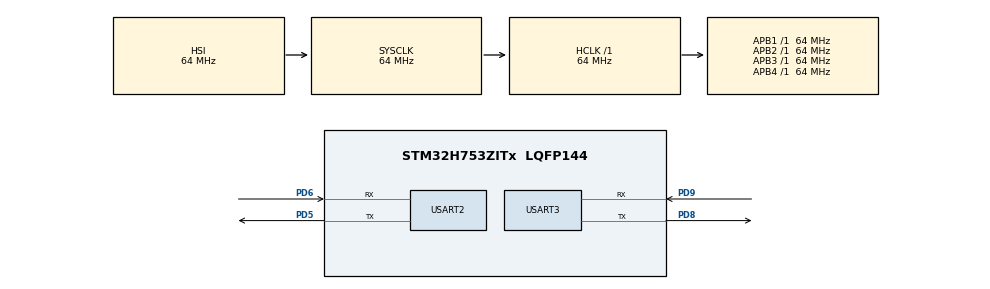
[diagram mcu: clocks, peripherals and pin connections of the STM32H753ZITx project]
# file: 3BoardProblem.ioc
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CORTEX_M7.CPU_DCache=Disabled
CORTEX_M7.CPU_ICache=Disabled
CORTEX_M7.MPU_Control=__NULL
CORTEX_M7.default_mode_Activation=1
Mcu.Family=STM32H7
Mcu.Name=STM32H753ZITx
Mcu.Package=LQFP144
NUCLEO-H753ZI.BUTTON=1
NUCLEO-H753ZI.LD1=true
NUCLEO-H753ZI.LD2=true
NUCLEO-H753ZI.LD3=true
NUCLEO-H753ZI.VCP=false
NVIC.EXTI15_10_IRQn=true\:0\:0\:false\:false\:true\:false\:true\:true
NVIC.PriorityGroup=NVIC_PRIORITYGROUP_4
NVIC.USART2_IRQn=true\:0\:0\:false\:false\:true\:true\:true\:true
NVIC.USART3_IRQn=true\:0\:0\:false\:false\:true\:true\:true\:true
PC14-OSC32_IN\ (OSC32_IN).Signal=RCC_OSC32_IN
PC15-OSC32_OUT\ (OSC32_OUT).Signal=RCC_OSC32_OUT
PD5.Mode=Asynchronous
PD5.Signal=USART2_TX
PD6.Mode=Asynchronous
PD6.Signal=USART2_RX
PD8.Mode=Asynchronous
PD8.Signal=USART3_TX
PD9.Mode=Asynchronous
PD9.Signal=USART3_RX
PH0-OSC_IN\ (PH0).Signal=RCC_OSC_IN
PH1-OSC_OUT\ (PH1).Signal=RCC_OSC_OUT
ProjectManager.HeapSize=0x200
ProjectManager.StackSize=0x400
ProjectManager.TargetToolchain=CMake
RCC.ADCFreq_Value=129000000
RCC.APB1Freq_Value=64000000
RCC.APB2Freq_Value=64000000
RCC.APB3Freq_Value=64000000
RCC.APB4Freq_Value=64000000
RCC.CortexFreq_Value=64000000
RCC.DIVM1=1
RCC.DIVN1=24
RCC.DIVQ1=4
RCC.HCLKFreq_Value=64000000
RCC.HSE_VALUE=8000000
RCC.PLLFRACN=0
RCC.PWR_Regulator_Voltage_Scale=PWR_REGULATOR_VOLTAGE_SCALE2
RCC.SYSCLKFreq_VALUE=64000000
RCC.USBFreq_Value=384000000
USART2.VirtualMode-Asynchronous=VM_ASYNC
USART3.VirtualMode-Asynchronous=VM_ASYNC
VP_MEMORYMAP_VS_MEMORYMAP.Mode=CurAppReg
VP_NUCLEO-H753ZI_VS_BSP_COMMON.Mode=COMMON
board=NUCLEO-H753ZI

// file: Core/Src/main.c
/* USER CODE BEGIN Header */
/**
 ******************************************************************************
 * @file           : main.c
 * @brief          : Main program body
 ******************************************************************************
 * @attention
 *
 * Copyright (c) 2026 STMicroelectronics.
 * All rights reserved.
 *
 * This software is licensed under terms that can be found in the LICENSE file
 * in the root directory of this software component.
 * If no LICENSE file comes with this software, it is provided AS-IS.
 *
 ******************************************************************************
 */
/* USER CODE END Header */
#include "main.h"
#include "usart.h"
#include "gpio.h"

/* USER CODE BEGIN Includes */

#include <stdbool.h>

/* USER CODE END Includes */

/* USER CODE BEGIN PTD */

typedef struct
{
  uint8_t buffer[1024];
  volatile uint16_t head;
  volatile uint16_t tail;
} byte_queue_t;

typedef enum
{
  RX_SYNC_1,
  RX_SYNC_2,
  RX_SEQUENCE,
  RX_DATA,
  RX_CRC_0,
  RX_CRC_1,
  RX_CRC_2,
  RX_CRC_3
} rx_frame_state_t;

/* USER CODE END PTD */

/* USER CODE BEGIN PD */

#define QUEUE_SIZE (sizeof(((byte_queue_t *)0)->buffer))

#define WIRE_REPETITIONS 301U /* majoraty vote */
#define WIRE_PAUSE_US    50U
#define FRAME_COPIES     3U
#define FRAME_SYNC_1     0x55U
#define FRAME_SYNC_2     0xAAU
#define FRAME_RESET_DATA 0xC3U
#define FRAME_RESET_XOR  0xA5F03C69UL
#define WIRE_MASK_COUNT  8U

#if ((WIRE_REPETITIONS % 2U) == 0U)
#error "WIRE_REPETITIONS must be odd"
#endif

#define RX_STATUS_CORRECTED 0x01U
#define RX_STATUS_LOST      0x02U

/* USER CODE END PD */

/* USER CODE BEGIN PV */

uint8_t rx3; /* 1 byte laptop (USART3) */
uint8_t rx2; /* 1 byte cable  (USART2) */

static byte_queue_t wire_tx_queue; /* laptop -> encoded cable */
static byte_queue_t pc_tx_queue;   /* decoded cable -> laptop */
static byte_queue_t pc_status_queue;

static const uint8_t wire_masks[WIRE_MASK_COUNT] = {
    0x00U, 0xA7U, 0x3CU, 0xD2U, 0x69U, 0xF0U, 0x5BU, 0x96U};
static uint16_t repetition_bit_counts[8];
static uint16_t repetition_count;
static bool wire_cycle_counter_ready;

static rx_frame_state_t rx_frame_state = RX_SYNC_1;
static uint8_t rx_frame_bytes[6];
static bool rx_copy_corrected;
static bool rx_pending_error;
static uint8_t tx_sequence;
static uint8_t rx_expected_sequence;
static bool tx_message_start = true;

/* USER CODE END PV */

void SystemClock_Config(void);
/* USER CODE BEGIN PFP */

static void queue_push(byte_queue_t *queue, uint8_t data);
static bool queue_pop(byte_queue_t *queue, uint8_t *data);
static void link_send_data(uint8_t data);
static void link_receive_byte(uint8_t byte);
static void message_receive_byte(uint8_t data, uint8_t status);

/* USER CODE END PFP */

/* USER CODE BEGIN 0 */

static void queue_push(byte_queue_t *queue, uint8_t data)
{
  uint16_t next = (uint16_t)((queue->head + 1U) % QUEUE_SIZE);

  if (next != queue->tail)
  {
    queue->buffer[queue->head] = data;
    queue->head = next;
  }
}

static bool queue_pop(byte_queue_t *queue, uint8_t *data)
{
  if (queue->tail == queue->head)
  {
    return false;
  }

  *data = queue->buffer[queue->tail];
  queue->tail = (uint16_t)((queue->tail + 1U) % QUEUE_SIZE);
  return true;
}

static uint32_t crc32(uint8_t sequence, uint8_t data)
{
  uint32_t crc = 0xFFFFFFFFUL;
  uint8_t values[2] = {sequence, data};

  for (uint8_t index = 0U; index < 2U; index++)
  {
    crc ^= (uint32_t)values[index];
    for (uint8_t bit = 0U; bit < 8U; bit++)
    {
      crc = (crc & 1UL) != 0UL
                ? (crc >> 1U) ^ 0xEDB88320UL
                : crc >> 1U;
    }
  }

  return ~crc;
}

static uint8_t rotate_left8(uint8_t value, uint8_t shift)
{
  shift &= 7U;
  if (shift == 0U)
  {
    return value;
  }

  return (uint8_t)((value << shift) | (value >> (8U - shift)));
}

static uint8_t rotate_right8(uint8_t value, uint8_t shift)
{
  shift &= 7U;
  if (shift == 0U)
  {
    return value;
  }

  return (uint8_t)((value >> shift) | (value << (8U - shift)));
}

static uint8_t encode_wire_sample(uint8_t byte, uint16_t sample_index)
{
  uint8_t phase = (uint8_t)(sample_index % WIRE_MASK_COUNT);
  return rotate_left8(byte, phase) ^ wire_masks[phase];
}

static uint8_t decode_wire_sample(uint8_t byte, uint16_t sample_index)
{
  uint8_t phase = (uint8_t)(sample_index % WIRE_MASK_COUNT);
  return rotate_right8(byte ^ wire_masks[phase], phase);
}

static void wire_delay_us(uint32_t microseconds)
{
  if (!wire_cycle_counter_ready)
  {
    volatile uint32_t fallback_loops =
        (SystemCoreClock / 4000000U) * microseconds;
    while (fallback_loops-- > 0U)
    {
      __NOP();
    }
    return;
  }

  uint32_t start = DWT->CYCCNT;
  uint32_t cycles = (SystemCoreClock / 1000000U) * microseconds;

  while ((uint32_t)(DWT->CYCCNT - start) < cycles)
  {
  }
}

static void send_repeated_byte(uint8_t byte)
{
  for (uint16_t index = 0U; index < WIRE_REPETITIONS; index++)
  {
    uint8_t wire_byte = encode_wire_sample(byte, index);
    HAL_UART_Transmit(&huart2, &wire_byte, 1U, HAL_MAX_DELAY);
    wire_delay_us(WIRE_PAUSE_US);
  }
}

static void link_send_frame(uint8_t sequence, uint8_t data, uint32_t checksum)
{
  uint8_t frame[8] = {
      FRAME_SYNC_1,
      FRAME_SYNC_2,
      sequence,
      data,
      (uint8_t)(checksum >> 24U),
      (uint8_t)(checksum >> 16U),
      (uint8_t)(checksum >> 8U),
      (uint8_t)checksum,
  };

  for (uint8_t copy = 0U; copy < FRAME_COPIES; copy++)
  {
    for (uint8_t index = 0U; index < sizeof(frame); index++)
    {
      send_repeated_byte(frame[index]);
    }
  }
}

static void link_send_data(uint8_t data)
{
  /* sync reciever */
  if (tx_message_start)
  {
    uint32_t reset_checksum = crc32(tx_sequence, FRAME_RESET_DATA) ^
                              FRAME_RESET_XOR;
    link_send_frame(tx_sequence, FRAME_RESET_DATA, reset_checksum);
    tx_message_start = false;
  }

  uint8_t sequence = tx_sequence++;
  link_send_frame(sequence, data, crc32(sequence, data));

  if ((data == '\r') || (data == '\n'))
  {
    tx_message_start = true;
  }
}

static void receive_valid_frame(uint8_t sequence, uint8_t data,
                                bool corrected)
{
  uint8_t distance = (uint8_t)(sequence - rx_expected_sequence);

  /* A positive forward distance means one or more complete characters were lost */
  if ((distance > 0U) && (distance < 128U))
  {
    while (rx_expected_sequence != sequence)
    {
      queue_push(&pc_tx_queue, (uint8_t)'?');
      queue_push(&pc_status_queue, RX_STATUS_LOST);
      rx_expected_sequence++;
    }
  }
  else if (distance >= 128U)
  {
    if (sequence == (uint8_t)(rx_expected_sequence - 1U))
    {
      return;
    }

    rx_expected_sequence = sequence;
    rx_pending_error = true;
  }

  queue_push(&pc_tx_queue, data);
  queue_push(&pc_status_queue,
             (corrected || rx_pending_error) ? RX_STATUS_CORRECTED : 0U);
  rx_expected_sequence++;
  rx_pending_error = false;

  if (corrected)
  {
    BSP_LED_Toggle(LED_YELLOW);
  }
}

static bool frame_checksum_matches(uint32_t checksum, bool *corrected)
{
  for (uint8_t index = 0U; index < 4U; index++)
  {
    uint8_t expected = (uint8_t)(checksum >> (24U - (8U * index)));
    uint8_t received = rx_frame_bytes[index + 2U];

    if (received == expected)
    {
      continue;
    }
    if (received == (uint8_t)~expected)
    {
      *corrected = true;
      continue;
    }

    return false;
  }

  return true;
}

static void process_complete_frame(void)
{
  /* try both polarities to fix inversion */
  for (uint8_t sequence_inverted = 0U; sequence_inverted <= 1U;
       sequence_inverted++)
  {
    for (uint8_t data_inverted = 0U; data_inverted <= 1U; data_inverted++)
    {
      uint8_t sequence = rx_frame_bytes[0] ^
                         (sequence_inverted != 0U ? 0xFFU : 0x00U);
      uint8_t data = rx_frame_bytes[1] ^
                     (data_inverted != 0U ? 0xFFU : 0x00U);
      uint32_t checksum = crc32(sequence, data);
      bool polarity_corrected = (sequence_inverted != 0U) ||
                                (data_inverted != 0U);

      if (data == FRAME_RESET_DATA)
      {
        bool reset_corrected = polarity_corrected;
        if (frame_checksum_matches(checksum ^ FRAME_RESET_XOR,
                                   &reset_corrected))
        {
          rx_expected_sequence = sequence;
          rx_pending_error = false;
          if (rx_copy_corrected || reset_corrected)
          {
            BSP_LED_Toggle(LED_YELLOW);
          }
          return;
        }
      }

      if (frame_checksum_matches(checksum, &polarity_corrected))
      {
        receive_valid_frame(sequence, data,
                            rx_copy_corrected || polarity_corrected);
        return;
      }
    }
  }

  rx_pending_error = true;
  BSP_LED_Toggle(LED_RED);
}

static void process_majority_byte(uint8_t byte, bool corrected)
{
  switch (rx_frame_state)
  {
  case RX_SYNC_1:
    if ((byte == FRAME_SYNC_1) || (byte == FRAME_SYNC_2))
    {
      rx_copy_corrected = corrected || (byte != FRAME_SYNC_1);
      rx_frame_state = RX_SYNC_2;
    }
    break;

  case RX_SYNC_2:
    if ((byte == FRAME_SYNC_2) || (byte == FRAME_SYNC_1))
    {
      rx_copy_corrected |= corrected || (byte != FRAME_SYNC_2);
      rx_frame_state = RX_SEQUENCE;
    }
    else
    {
      rx_frame_state = RX_SYNC_1;
    }
    break;

  case RX_SEQUENCE:
    rx_frame_bytes[0] = byte;
    rx_copy_corrected |= corrected;
    rx_frame_state = RX_DATA;
    break;

  case RX_DATA:
    rx_frame_bytes[1] = byte;
    rx_copy_corrected |= corrected;
    rx_frame_state = RX_CRC_0;
    break;

  case RX_CRC_0:
    rx_frame_bytes[2] = byte;
    rx_copy_corrected |= corrected;
    rx_frame_state = RX_CRC_1;
    break;

  case RX_CRC_1:
    rx_frame_bytes[3] = byte;
    rx_copy_corrected |= corrected;
    rx_frame_state = RX_CRC_2;
    break;

  case RX_CRC_2:
    rx_frame_bytes[4] = byte;
    rx_copy_corrected |= corrected;
    rx_frame_state = RX_CRC_3;
    break;

  case RX_CRC_3:
    rx_frame_bytes[5] = byte;
    rx_copy_corrected |= corrected;
    process_complete_frame();
    rx_frame_state = RX_SYNC_1;
    break;
  }
}

static void link_receive_byte(uint8_t byte)
{
  byte = decode_wire_sample(byte, repetition_count);

  for (uint8_t bit = 0U; bit < 8U; bit++)
  {
    repetition_bit_counts[bit] += (uint16_t)((byte >> bit) & 1U);
  }

  repetition_count++;
  if (repetition_count < WIRE_REPETITIONS)
  {
    return;
  }

  uint8_t majority_byte = 0U;
  bool corrected = false;
  for (uint8_t bit = 0U; bit < 8U; bit++)
  {
    if (repetition_bit_counts[bit] > (WIRE_REPETITIONS / 2U))
    {
      majority_byte |= (uint8_t)(1U << bit);
    }
    if ((repetition_bit_counts[bit] != 0U) &&
        (repetition_bit_counts[bit] != WIRE_REPETITIONS))
    {
      corrected = true;
    }
    repetition_bit_counts[bit] = 0U;
  }

  repetition_count = 0U;
  process_majority_byte(majority_byte, corrected);
}

static void message_receive_byte(uint8_t data, uint8_t status)
{
  (void)status;
  HAL_UART_Transmit(&huart3, &data, 1U, HAL_MAX_DELAY);
}

/* USER CODE END 0 */

int main(void)
{

  /* MCU Configuration--------------------------------------------------------*/

  /* Reset of all peripherals, Initializes the Flash interface and the Systick. */
  HAL_Init();

  /* Configure the system clock */
  SystemClock_Config();

  /* Initialize all configured peripherals */
  MX_GPIO_Init();
  MX_USART2_UART_Init();
  MX_USART3_UART_Init();

  /* Cycle counter for the short pacing delay between cable bytes. */
  CoreDebug->DEMCR |= CoreDebug_DEMCR_TRCENA_Msk;
  DWT->LAR = 0xC5ACCE55UL;
  DWT->CYCCNT = 0U;
  DWT->CTRL |= DWT_CTRL_CYCCNTENA_Msk;
  uint32_t cycle_counter_start = DWT->CYCCNT;
  for (volatile uint32_t index = 0U; index < 100U; index++)
  {
    __NOP();
  }
  wire_cycle_counter_ready = DWT->CYCCNT != cycle_counter_start;

  /* Green: ready. Yellow: majority vote used. Red: CRC rejected a copy. */
  BSP_LED_Init(LED_GREEN);
  BSP_LED_Init(LED_YELLOW);
  BSP_LED_Init(LED_RED);
  BSP_LED_On(LED_GREEN);

  uint8_t hello[] = "Robust link ready. Characters are printed immediately.\r\n";
  HAL_UART_Transmit(&huart3, hello, sizeof(hello) - 1U, HAL_MAX_DELAY);

  HAL_UART_Receive_IT(&huart3, &rx3, 1U);
  HAL_UART_Receive_IT(&huart2, &rx2, 1U);

  /* Infinite loop */
  /* USER CODE BEGIN WHILE */
  while (1)
  {
    uint8_t data;

    /* Laptop -> cable: strongly encode one queued character. */
    if (queue_pop(&wire_tx_queue, &data))
    {
      link_send_data(data);
    }

    /* Cable -> laptop: collect characters and print the complete message. */
    if (queue_pop(&pc_tx_queue, &data))
    {
      uint8_t status = 0U;
      (void)queue_pop(&pc_status_queue, &status);
      message_receive_byte(data, status);
    }

    /* USER CODE END WHILE */

    /* USER CODE BEGIN 3 */
  }
}

void SystemClock_Config(void)
{
  RCC_OscInitTypeDef RCC_OscInitStruct = {0};
  RCC_ClkInitTypeDef RCC_ClkInitStruct = {0};

  /** Supply configuration update enable
   */
  HAL_PWREx_ConfigSupply(PWR_LDO_SUPPLY);

  /** Configure the main internal regulator output voltage
   */
  __HAL_PWR_VOLTAGESCALING_CONFIG(PWR_REGULATOR_VOLTAGE_SCALE2);

  while (!__HAL_PWR_GET_FLAG(PWR_FLAG_VOSRDY))
  {
  }

  /** Initializes the RCC Oscillators according to the specified parameters
   * in the RCC_OscInitTypeDef structure.
   */
  RCC_OscInitStruct.OscillatorType = RCC_OSCILLATORTYPE_HSI;
  RCC_OscInitStruct.HSIState = RCC_HSI_DIV1;
  RCC_OscInitStruct.HSICalibrationValue = RCC_HSICALIBRATION_DEFAULT;
  RCC_OscInitStruct.PLL.PLLState = RCC_PLL_NONE;
  if (HAL_RCC_OscConfig(&RCC_OscInitStruct) != HAL_OK)
  {
    Error_Handler();
  }

  /** Initializes the CPU, AHB and APB buses clocks
   */
  RCC_ClkInitStruct.ClockType = RCC_CLOCKTYPE_HCLK | RCC_CLOCKTYPE_SYSCLK | RCC_CLOCKTYPE_PCLK1 | RCC_CLOCKTYPE_PCLK2 | RCC_CLOCKTYPE_D3PCLK1 | RCC_CLOCKTYPE_D1PCLK1;
  RCC_ClkInitStruct.SYSCLKSource = RCC_SYSCLKSOURCE_HSI;
  RCC_ClkInitStruct.SYSCLKDivider = RCC_SYSCLK_DIV1;
  RCC_ClkInitStruct.AHBCLKDivider = RCC_SYSCLK_DIV1;
  RCC_ClkInitStruct.APB3CLKDivider = RCC_APB3_DIV1;
  RCC_ClkInitStruct.APB1CLKDivider = RCC_APB1_DIV1;
  RCC_ClkInitStruct.APB2CLKDivider = RCC_APB2_DIV1;
  RCC_ClkInitStruct.APB4CLKDivider = RCC_APB4_DIV1;

  if (HAL_RCC_ClockConfig(&RCC_ClkInitStruct, FLASH_LATENCY_1) != HAL_OK)
  {
    Error_Handler();
  }
}

/* USER CODE BEGIN 4 */

void HAL_UART_RxCpltCallback(UART_HandleTypeDef *huart)
{
  if (huart->Instance == USART3)
  {
    uint8_t byte = rx3;

    /* Re-arm */
    HAL_UART_Receive_IT(&huart3, &rx3, 1U);

    /* Laptop -> cable */
    queue_push(&wire_tx_queue, byte);
  }
  else if (huart->Instance == USART2)
  {
    uint8_t byte = rx2;

    HAL_UART_Receive_IT(&huart2, &rx2, 1U);
    link_receive_byte(byte);
  }
}

void HAL_UART_ErrorCallback(UART_HandleTypeDef *huart)
{

  if (huart->Instance == USART2)
  {
    repetition_count = 0U;
    for (uint8_t bit = 0U; bit < 8U; bit++)
    {
      repetition_bit_counts[bit] = 0U;
    }
    rx_frame_state = RX_SYNC_1;
    BSP_LED_Toggle(LED_RED);
    HAL_UART_Receive_IT(&huart2, &rx2, 1U);
  }
  else if (huart->Instance == USART3)
  {
    HAL_UART_Receive_IT(&huart3, &rx3, 1U);
  }
}

/* USER CODE END 4 */

void Error_Handler(void)
{
  /* USER CODE BEGIN Error_Handler_Debug User can add his own implementation to report the HAL error return state */
  __disable_irq();
  while (1)
  {
  }
  /* USER CODE END Error_Handler_Debug */
}
